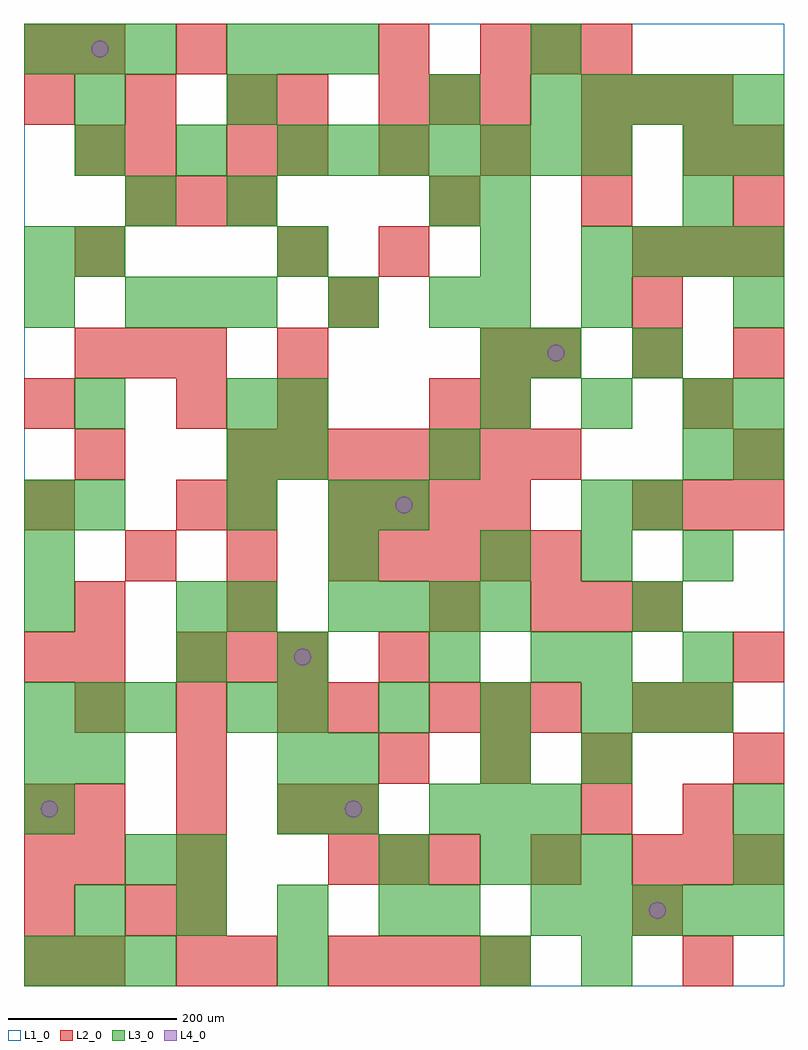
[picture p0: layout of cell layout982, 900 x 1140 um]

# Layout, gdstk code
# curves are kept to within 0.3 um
import gdstk
lib = gdstk.Library(unit=1e-6, precision=1e-09)
def R(c, l, rs):  # rectangles x0, y0, x1, y1
    for r in rs: c.add(gdstk.rectangle(r[:2], r[2:], *l))
def A(c, l, x, y, w, h, nx, ny, dx, dy):  # array of equal rectangles
    R(c, l, [(x+i*dx, y+j*dy, x+i*dx+w, y+j*dy+h) for i in range(nx) for j in range(ny)])
def P(c, l, *ps):  # polygons
    for p in ps: c.add(gdstk.Polygon(p, *l))
L1_0 = (1, 0)
L2_0 = (2, 0)
L3_0 = (3, 0)
L4_0 = (4, 0)

layout982 = lib.new_cell('layout982')
R(layout982, L1_0, [(0,0,900,1140)])
A(layout982, L2_0, 0, 0, 60, 60, 1, 4, 0, 60)
A(layout982, L2_0, 180, 0, 60, 60, 1, 3, 0, 60)
A(layout982, L2_0, 360, 0, 60, 60, 4, 2, 60, 540)
A(layout982, L2_0, 360, 120, 60, 60, 3, 1, 60, 0)
A(layout982, L2_0, 720, 120, 60, 60, 3, 2, 60, 420)
A(layout982, L2_0, 60, 180, 60, 60, 3, 2, 120, 120)
A(layout982, L2_0, 420, 240, 60, 60, 3, 1, 120, 0)
A(layout982, L2_0, 480, 300, 60, 60, 3, 1, 60, 0)
A(layout982, L2_0, 180, 360, 60, 60, 3, 1, 60, 0)
A(layout982, L2_0, 600, 420, 60, 60, 3, 1, 60, 0)
A(layout982, L2_0, 120, 480, 60, 60, 3, 1, 120, 0)
A(layout982, L2_0, 420, 480, 60, 60, 4, 1, 60, 0)
A(layout982, L2_0, 240, 600, 60, 60, 7, 1, 60, 0)
A(layout982, L2_0, 60, 720, 60, 60, 3, 1, 60, 0)
A(layout982, L2_0, 600, 720, 60, 60, 3, 1, 120, 0)
A(layout982, L2_0, 60, 840, 60, 60, 1, 3, 0, 120)
A(layout982, L2_0, 720, 840, 60, 60, 3, 1, 60, 0)
A(layout982, L2_0, 120, 900, 60, 60, 3, 1, 60, 0)
A(layout982, L2_0, 480, 900, 60, 60, 3, 1, 180, 0)
A(layout982, L2_0, 300, 960, 60, 60, 5, 1, 120, 0)
A(layout982, L2_0, 0, 1020, 60, 60, 3, 1, 120, 0)
A(layout982, L2_0, 420, 1020, 60, 60, 3, 1, 60, 0)
A(layout982, L2_0, 660, 1020, 60, 60, 3, 1, 60, 0)
A(layout982, L2_0, 540, 1080, 60, 60, 3, 1, 60, 0)
R(layout982, L2_0, [(60,0,120,60), (240,0,300,60), (780,0,840,60), (120,60,180,120), (720,60,780,120), (60,120,120,180), (600,120,660,180), (360,180,420,240), (660,180,720,240), (780,180,840,240), (180,240,240,300), (840,240,900,300), (360,300,420,360), (720,300,780,360), (780,300,840,360), (0,360,60,420), (60,360,120,420), (420,360,480,420), (840,360,900,420), (60,420,120,480), (240,420,300,480), (480,420,540,480), (0,540,60,600), (180,540,240,600), (240,540,300,600), (60,600,120,660), (840,600,900,660), (0,660,60,720), (180,660,240,720), (300,660,360,720), (480,660,540,720), (540,660,600,720), (780,660,840,720), (300,720,360,780), (540,720,600,780), (360,780,420,840), (720,780,780,840), (300,840,360,900), (420,840,480,900), (120,960,180,1020), (240,960,300,1020), (840,960,900,1020), (300,1020,360,1080), (0,1080,60,1140), (180,1080,240,1140), (420,1080,480,1140)])
A(layout982, L3_0, 0, 0, 60, 60, 3, 2, 60, 300)
A(layout982, L3_0, 60, 60, 60, 60, 4, 1, 120, 0)
A(layout982, L3_0, 600, 60, 60, 60, 5, 2, 60, 960)
A(layout982, L3_0, 540, 120, 60, 60, 3, 1, 60, 0)
A(layout982, L3_0, 480, 180, 60, 60, 3, 1, 60, 0)
A(layout982, L3_0, 240, 300, 60, 60, 1, 3, 0, 120)
A(layout982, L3_0, 300, 300, 60, 60, 4, 1, 120, 0)
A(layout982, L3_0, 720, 300, 60, 60, 1, 3, 0, 120)
A(layout982, L3_0, 600, 360, 60, 60, 1, 3, 0, 360)
A(layout982, L3_0, 0, 420, 60, 60, 1, 3, 0, 60)
A(layout982, L3_0, 360, 420, 60, 60, 4, 1, 60, 0)
A(layout982, L3_0, 540, 480, 60, 60, 3, 2, 120, 180)
A(layout982, L3_0, 120, 780, 60, 60, 3, 1, 60, 0)
A(layout982, L3_0, 480, 780, 60, 60, 1, 3, 0, 120)
A(layout982, L3_0, 60, 840, 60, 60, 3, 1, 240, 0)
A(layout982, L3_0, 660, 840, 60, 60, 4, 1, 60, 0)
A(layout982, L3_0, 60, 960, 60, 60, 3, 1, 120, 0)
A(layout982, L3_0, 360, 960, 60, 60, 6, 1, 60, 0)
A(layout982, L3_0, 0, 1080, 60, 60, 3, 1, 60, 0)
A(layout982, L3_0, 240, 1080, 60, 60, 3, 1, 60, 0)
R(layout982, L3_0, [(300,0,360,60), (540,0,600,60), (660,0,720,60), (480,60,540,120), (120,120,180,180), (180,120,240,180), (420,120,480,180), (840,120,900,180), (0,180,60,240), (300,180,360,240), (360,180,420,240), (840,180,900,240), (0,240,60,300), (60,240,120,300), (300,240,360,300), (360,240,420,300), (540,240,600,300), (660,240,720,300), (780,300,840,360), (180,360,240,420), (300,360,360,420), (480,360,540,420), (660,360,720,420), (780,360,840,420), (180,420,240,480), (360,480,420,540), (60,540,120,600), (360,540,420,600), (420,540,480,600), (660,540,720,600), (240,600,300,660), (300,600,360,660), (480,600,540,660), (780,600,840,660), (840,600,900,660), (60,660,120,720), (240,660,300,720), (300,660,360,720), (840,660,900,720), (540,720,600,780), (720,720,780,780), (0,780,60,840), (360,780,420,840), (540,780,600,840), (660,780,720,840), (840,780,900,840), (0,840,60,900), (120,900,180,960), (240,900,300,960), (540,900,600,960), (780,900,840,960), (780,960,840,1020), (840,960,900,1020), (60,1020,120,1080), (240,1020,300,1080)])
P(layout982, L4_0, [(40,210),(39.239,213.827),(37.071,217.071),(33.827,219.239),(30,220),(26.173,219.239),(22.929,217.071),(20.761,213.827),(20,210),(20.761,206.173),(22.929,202.929),(26.173,200.761),(30,200),(33.827,200.761),(37.071,202.929),(39.239,206.173)],
  [(100,1110),(99.239,1113.827),(97.071,1117.071),(93.827,1119.239),(90,1120),(86.173,1119.239),(82.929,1117.071),(80.761,1113.827),(80,1110),(80.761,1106.173),(82.929,1102.929),(86.173,1100.761),(90,1100),(93.827,1100.761),(97.071,1102.929),(99.239,1106.173)],
  [(340,390),(339.239,393.827),(337.071,397.071),(333.827,399.239),(330,400),(326.173,399.239),(322.929,397.071),(320.761,393.827),(320,390),(320.761,386.173),(322.929,382.929),(326.173,380.761),(330,380),(333.827,380.761),(337.071,382.929),(339.239,386.173)],
  [(400,210),(399.239,213.827),(397.071,217.071),(393.827,219.239),(390,220),(386.173,219.239),(382.929,217.071),(380.761,213.827),(380,210),(380.761,206.173),(382.929,202.929),(386.173,200.761),(390,200),(393.827,200.761),(397.071,202.929),(399.239,206.173)],
  [(460,570),(459.239,573.827),(457.071,577.071),(453.827,579.239),(450,580),(446.173,579.239),(442.929,577.071),(440.761,573.827),(440,570),(440.761,566.173),(442.929,562.929),(446.173,560.761),(450,560),(453.827,560.761),(457.071,562.929),(459.239,566.173)],
  [(640,750),(639.239,753.827),(637.071,757.071),(633.827,759.239),(630,760),(626.173,759.239),(622.929,757.071),(620.761,753.827),(620,750),(620.761,746.173),(622.929,742.929),(626.173,740.761),(630,740),(633.827,740.761),(637.071,742.929),(639.239,746.173)],
  [(760,90),(759.239,93.827),(757.071,97.071),(753.827,99.239),(750,100),(746.173,99.239),(742.929,97.071),(740.761,93.827),(740,90),(740.761,86.173),(742.929,82.929),(746.173,80.761),(750,80),(753.827,80.761),(757.071,82.929),(759.239,86.173)])

lib.write_gds('layout982.gds')
